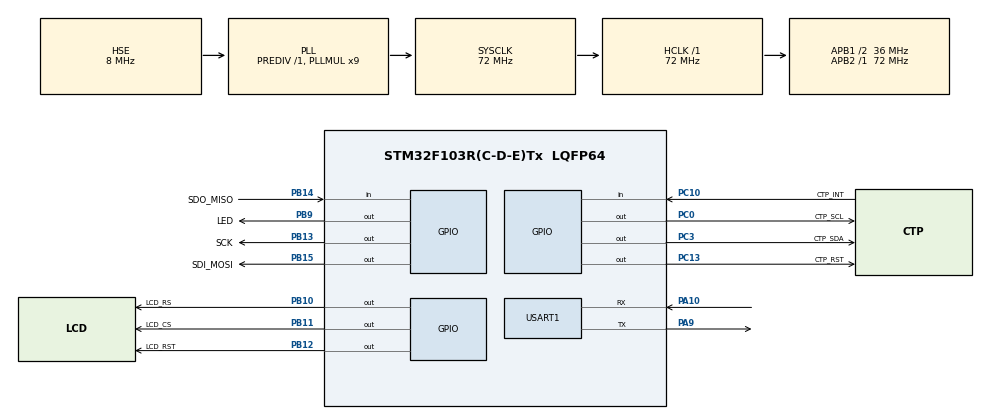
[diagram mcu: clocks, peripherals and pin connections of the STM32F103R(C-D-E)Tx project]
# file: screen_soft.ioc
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Mcu.Family=STM32F1
Mcu.Name=STM32F103R(C-D-E)Tx
Mcu.Package=LQFP64
NVIC.PriorityGroup=NVIC_PRIORITYGROUP_4
PA10.Mode=Asynchronous
PA10.Signal=USART1_RX
PA13.Mode=Serial_Wire
PA13.Signal=SYS_JTMS-SWDIO
PA14.Mode=Serial_Wire
PA14.Signal=SYS_JTCK-SWCLK
PA9.Mode=Asynchronous
PA9.Signal=USART1_TX
PB10.GPIO_Label=LCD_RS
PB10.GPIO_Speed=GPIO_SPEED_FREQ_HIGH
PB10.Signal=GPIO_Output
PB11.GPIO_Label=LCD_CS
PB11.GPIO_Speed=GPIO_SPEED_FREQ_HIGH
PB11.Signal=GPIO_Output
PB12.GPIO_Label=LCD_RST
PB12.GPIO_Speed=GPIO_SPEED_FREQ_HIGH
PB12.Signal=GPIO_Output
PB13.GPIO_Label=SCK
PB13.GPIO_Speed=GPIO_SPEED_FREQ_HIGH
PB13.Signal=GPIO_Output
PB14.GPIO_Label=SDO_MISO
PB14.Signal=GPIO_Input
PB15.GPIO_Label=SDI_MOSI
PB15.GPIO_Speed=GPIO_SPEED_FREQ_HIGH
PB15.Signal=GPIO_Output
PB9.GPIO_Label=LED
PB9.GPIO_Speed=GPIO_SPEED_FREQ_HIGH
PB9.PinState=GPIO_PIN_SET
PB9.Signal=GPIO_Output
PC0.GPIO_Label=CTP_SCL
PC0.GPIO_Speed=GPIO_SPEED_FREQ_HIGH
PC0.PinState=GPIO_PIN_SET
PC0.Signal=GPIO_Output
PC10.GPIO_Label=CTP_INT
PC10.GPIO_PuPd=GPIO_PULLUP
PC10.Signal=GPIO_Input
PC13-TAMPER-RTC.GPIO_Label=CTP_RST
PC13-TAMPER-RTC.GPIO_Speed=GPIO_SPEED_FREQ_HIGH
PC13-TAMPER-RTC.PinState=GPIO_PIN_SET
PC13-TAMPER-RTC.Signal=GPIO_Output
PC3.GPIO_Label=CTP_SDA
PC3.GPIO_Speed=GPIO_SPEED_FREQ_HIGH
PC3.PinState=GPIO_PIN_SET
PC3.Signal=GPIO_Output
PD0-OSC_IN.Mode=HSE-External-Oscillator
PD0-OSC_IN.Signal=RCC_OSC_IN
PD1-OSC_OUT.Mode=HSE-External-Oscillator
PD1-OSC_OUT.Signal=RCC_OSC_OUT
ProjectManager.HeapSize=0x200
ProjectManager.StackSize=0x400
ProjectManager.TargetToolchain=Makefile
RCC.AHBFreq_Value=72000000
RCC.APB1CLKDivider=RCC_HCLK_DIV2
RCC.APB1Freq_Value=36000000
RCC.APB1TimFreq_Value=72000000
RCC.APB2Freq_Value=72000000
RCC.APB2TimFreq_Value=72000000
RCC.HCLKFreq_Value=72000000
RCC.PLLMUL=RCC_PLL_MUL9
RCC.PLLSourceVirtual=RCC_PLLSOURCE_HSE
RCC.SYSCLKFreq_VALUE=72000000
RCC.SYSCLKSource=RCC_SYSCLKSOURCE_PLLCLK
RCC.USBFreq_Value=72000000
USART1.VirtualMode=VM_ASYNC
board=custom

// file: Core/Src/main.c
/* USER CODE BEGIN Header */
/**
 ******************************************************************************
 * @file           : main.c
 * @brief          : Main program body
 ******************************************************************************
 * @attention
 *
 * Copyright (c) 2023 STMicroelectronics.
 * All rights reserved.
 *
 * This software is licensed under terms that can be found in the LICENSE file
 * in the root directory of this software component.
 * If no LICENSE file comes with this software, it is provided AS-IS.
 *
 ******************************************************************************
 */
/* USER CODE END Header */
#include "main.h"
#include "usart.h"
#include "gpio.h"

/* USER CODE BEGIN Includes */
// #include "button.h"
// #include "key.h"
// #include "pwm.h"
#include "retarget.h"
// #include "digital_tube.h"

// MSP3526 libraries
#include "delay.h"
#include "sys.h"
#include "lcd.h"
#include "touch.h"
#include "GUI.h"
#include "test.h"

/* USER CODE END Includes */

void SystemClock_Config(void);

int main(void)
{

  /* MCU Configuration--------------------------------------------------------*/

  /* Reset of all peripherals, Initializes the Flash interface and the Systick. */
  HAL_Init();

  /* Configure the system clock */
  SystemClock_Config();

  /* Initialize all configured peripherals */
  MX_GPIO_Init();
  MX_USART1_UART_Init();
  /* USER CODE BEGIN 2 */
    retarget_init(&huart1);
    printf("Hello World!\n");

    delay_init(72); // 延时初始化
    LCD_Init();

  /* USER CODE END 2 */

  /* Infinite loop */
  /* USER CODE BEGIN WHILE */
    while (1)
    {
        main_test();         // 测试主界面
        Test_Read();         // 读ID和GRAM测试
        Test_Color();        // 简单刷屏填充测试
        Test_FillRec();      // GUI矩形绘图测试
        Test_Circle();       // GUI画圆测试
        Test_Triangle();     // GUI三角形绘图测试
        English_Font_test(); // 英文字体示例测试
        Chinese_Font_test(); // 中文字体示例测试
        Pic_test();          // 图片显示示例测试
        Test_Dynamic_Num();  // 动态数字显示
        Rotate_Test();       // 旋转显示测试
        // 如果不带触摸，或者不需要触摸功能，请注释掉下面触摸屏测试项
        Touch_Test(); // 触摸屏手写测试
    /* USER CODE END WHILE */

    }
}

void SystemClock_Config(void)
{
  RCC_OscInitTypeDef RCC_OscInitStruct = {0};
  RCC_ClkInitTypeDef RCC_ClkInitStruct = {0};

  /** Initializes the RCC Oscillators according to the specified parameters
  * in the RCC_OscInitTypeDef structure.
  */
  RCC_OscInitStruct.OscillatorType = RCC_OSCILLATORTYPE_HSE;
  RCC_OscInitStruct.HSEState = RCC_HSE_ON;
  RCC_OscInitStruct.HSEPredivValue = RCC_HSE_PREDIV_DIV1;
  RCC_OscInitStruct.HSIState = RCC_HSI_ON;
  RCC_OscInitStruct.PLL.PLLState = RCC_PLL_ON;
  RCC_OscInitStruct.PLL.PLLSource = RCC_PLLSOURCE_HSE;
  RCC_OscInitStruct.PLL.PLLMUL = RCC_PLL_MUL9;
  if (HAL_RCC_OscConfig(&RCC_OscInitStruct) != HAL_OK)
  {
    Error_Handler();
  }

  /** Initializes the CPU, AHB and APB buses clocks
  */
  RCC_ClkInitStruct.ClockType = RCC_CLOCKTYPE_HCLK|RCC_CLOCKTYPE_SYSCLK
                              |RCC_CLOCKTYPE_PCLK1|RCC_CLOCKTYPE_PCLK2;
  RCC_ClkInitStruct.SYSCLKSource = RCC_SYSCLKSOURCE_PLLCLK;
  RCC_ClkInitStruct.AHBCLKDivider = RCC_SYSCLK_DIV1;
  RCC_ClkInitStruct.APB1CLKDivider = RCC_HCLK_DIV2;
  RCC_ClkInitStruct.APB2CLKDivider = RCC_HCLK_DIV1;

  if (HAL_RCC_ClockConfig(&RCC_ClkInitStruct, FLASH_LATENCY_2) != HAL_OK)
  {
    Error_Handler();
  }
}

void Error_Handler(void)
{
    __disable_irq();
    while (1)
    {
    }
}
